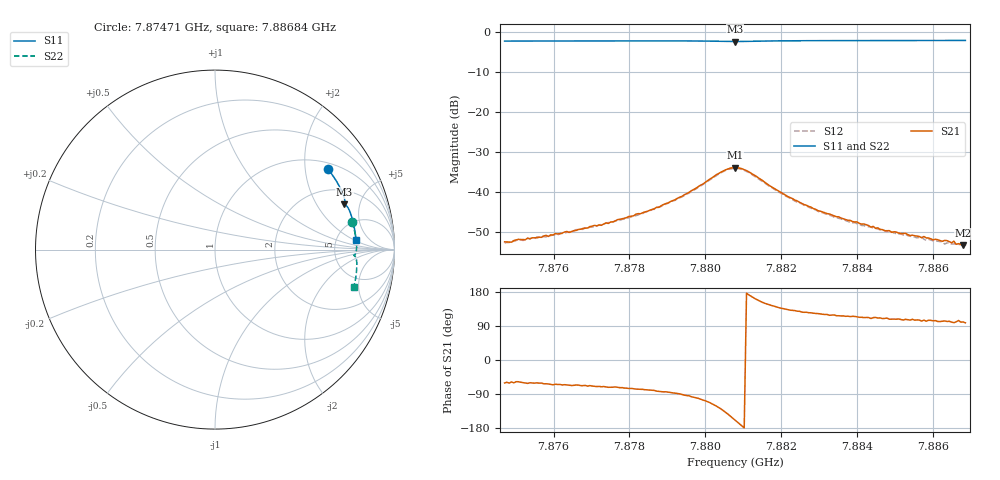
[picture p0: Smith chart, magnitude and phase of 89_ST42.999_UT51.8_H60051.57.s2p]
#  HZ  S  DB  R  50.00
! Rohde & Schwarz Vector Network Analyzer
! Rohde-Schwarz,ZNB20-2Port,1311601062101988,3.16
! Created: UTC 1/12/2023, 6:35:49 PM
! freq[Hz]  db:S11  ang:S11  db:S21  ang:S21  db:S12  ang:S12  db:S22  ang:S22
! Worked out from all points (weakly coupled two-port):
!   201 points, 7.87471 GHz to 7.88684 GHz, reference 50 ohm
!   highest |S21| = -33.91 dB at 7.88078 GHz (marker M1); lowest = -53.3 dB at 7.88678 GHz (marker M2)
!   lowest |S11| = -2.3 dB at 7.88078 GHz (marker M3), VSWR 7.45, Z = 147 + j178 ohm
!   |S11| at or under -10 dB: nowhere
!   |S22| runs from -2.2 to -1.9 dB; largest |S21 - S12| = 0.0013
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7.874713e9  -2.23 35.3  -52.47 -60.6  -52.76 -61.3  -2.16 11.3
7.875077e9  -2.23 34.3  -51.85 -57.4  -51.72 -63.0  -2.15 10.4
7.875198e9  -2.23 34.0  -51.91 -59.9  -52.13 -65.6  -2.14 10.1
7.875865e9  -2.21 32.2  -51.13 -63.2  -50.90 -67.0  -2.12 8.5
7.876775e9  -2.20 29.7  -49.11 -67.7  -49.35 -70.7  -2.10 6.4
7.877442e9  -2.19 27.9  -47.87 -72.0  -47.66 -74.6  -2.08 4.8
7.878776e9  -2.18 24.2  -43.80 -82.8  -43.80 -85.5  -2.06 1.7
7.879565e9  -2.20 21.9  -40.09 -94.3  -40.29 -98.3  -2.07 -0.2
7.880414e9  -2.31 19.7  -35.00 -129.5  -35.17 -132.9  -2.18 -2.2
7.880778e9  -2.35 19.3  -33.91 -158.8  -34.08 -162.0  -2.23 -2.4
7.881081e9  -2.31 19.1  -34.65 176.3  -34.85 173.0  -2.19 -2.5
7.882112e9  -2.16 16.4  -40.81 134.2  -41.06 130.4  -2.03 -4.6
7.88284e9  -2.13 14.3  -44.15 123.5  -44.29 119.1  -1.99 -6.4
7.883811e9  -2.11 11.7  -47.10 114.6  -47.58 110.4  -1.96 -8.6
7.884842e9  -2.10 9.0  -49.68 107.7  -49.83 105.6  -1.94 -10.9
7.886237e9  -2.08 5.4  -52.35 102.3  -52.49 101.5  -1.93 -13.9
7.886297e9  -2.08 5.2  -52.11 103.0  -53.03 98.9  -1.93 -14.1
7.886479e9  -2.08 4.7  -52.72 100.0  -53.06 100.4  -1.93 -14.4
7.88654e9  -2.08 4.6  -52.32 98.5  -52.98 97.7  -1.93 -14.6
7.886601e9  -2.08 4.4  -53.09 100.7  -52.99 98.8  -1.93 -14.7
7.886783e9  -2.08 3.9  -53.35 100.4  -53.56 97.5  -1.93 -15.1
7.886843e9  -2.08 3.7  -53.19 98.2  -53.32 96.7  -1.92 -15.2
